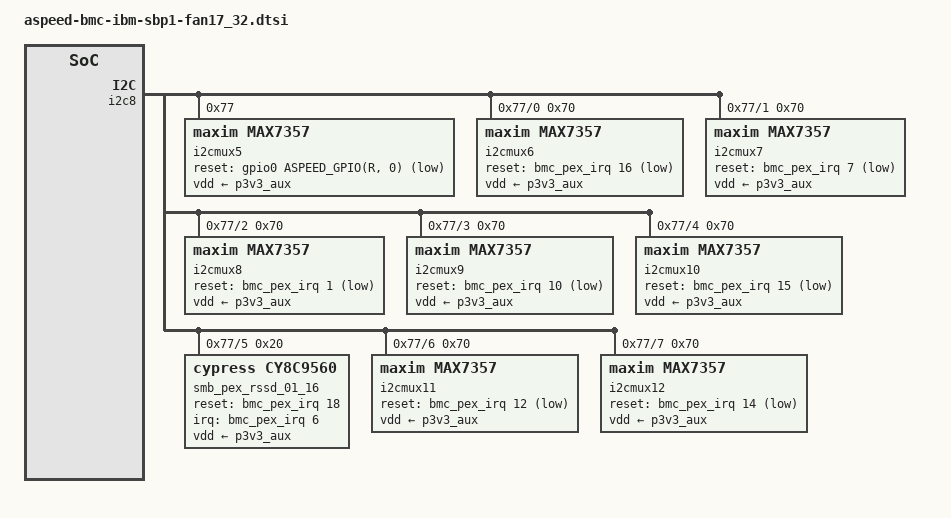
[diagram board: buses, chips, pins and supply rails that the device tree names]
&i2c8 { // BMC_MUX_FANSSB_RSSD17_32
	status = "okay";
	// Bus frequency limited to 100KHz by cy8c9560

	i2cmux5: mux@77 {
		#address-cells = <1>;
		#size-cells = <0>;
		compatible = "maxim,max7357";
		reg = <0x77>;
		reset-gpios = <&gpio0 ASPEED_GPIO(R, 0) (GPIO_ACTIVE_LOW | GPIO_OPEN_DRAIN)>; // BMC_MUX_FANSSB_RSSD17_32_RST_INT_N
		vdd-supply = <&p3v3_aux>;

		i2c@0 { // SMB_MUX_SSB_FANGRP0
			#address-cells = <1>;
			#size-cells = <0>;
			reg = <0>;
			i2cmux6: mux@70 {
				compatible = "maxim,max7357";
				#address-cells = <1>;
				#size-cells = <0>;
				reg = <0x70>;
				reset-gpios = <&bmc_pex_irq 16 (GPIO_ACTIVE_LOW | GPIO_OPEN_DRAIN)>; // SMB_MUX_SSB_FANGRP0_RST_INT_N
				vdd-supply = <&p3v3_aux>;
			};
		};
		i2c@1 { // SMB_MUX_SSB_FANGRP1
			#address-cells = <1>;
			#size-cells = <0>;
			reg = <1>;

			i2cmux7: mux@70 {
				compatible = "maxim,max7357";
				#address-cells = <1>;
				#size-cells = <0>;
				reg = <0x70>;
				reset-gpios = <&bmc_pex_irq 7 (GPIO_ACTIVE_LOW | GPIO_OPEN_DRAIN)>; // SMB_MUX_SSB_FANGRP1_RST_INT_N
				vdd-supply = <&p3v3_aux>;
			};
		};
		i2c@2 { // SMB_MUX_SSB_FANGRP2
			#address-cells = <1>;
			#size-cells = <0>;
			reg = <2>;

			i2cmux8: mux@70 {
				compatible = "maxim,max7357";
				#address-cells = <1>;
				#size-cells = <0>;
				reg = <0x70>;
				reset-gpios = <&bmc_pex_irq 1 (GPIO_ACTIVE_LOW | GPIO_OPEN_DRAIN)>; // SMB_MUX_SSB_FANGRP2_RST_INT_N
				vdd-supply = <&p3v3_aux>;
			};
		};
		i2c@3 { // SMB_MUX_SSB_RSSD17_24
			#address-cells = <1>;
			#size-cells = <0>;
			reg = <3>;

			i2cmux9: mux@70 {
				compatible = "maxim,max7357";
				#address-cells = <1>;
				#size-cells = <0>;
				reg = <0x70>;
				reset-gpios = <&bmc_pex_irq 10 (GPIO_ACTIVE_LOW | GPIO_OPEN_DRAIN)>; // SMB_MUX_SSB_RSSD17_24_RST_INT_N
				vdd-supply = <&p3v3_aux>;
			};
		};
		i2c@4 { // SMB_MUX_SSB_RSSD25_32
			#address-cells = <1>;
			#size-cells = <0>;
			reg = <4>;

			i2cmux10: mux@70 {
				compatible = "maxim,max7357";
				#address-cells = <1>;
				#size-cells = <0>;
				reg = <0x70>;
				reset-gpios = <&bmc_pex_irq 15 (GPIO_ACTIVE_LOW | GPIO_OPEN_DRAIN)>; // SMB_MUX_SSB_RSSD25_32_RST_INT_N
				vdd-supply = <&p3v3_aux>;
			};
		};
		i2c@5 { // SMB_PEX_RSSD01_16
			#address-cells = <1>;
			#size-cells = <0>;
			reg = <5>;

			smb_pex_rssd_01_16: U62140@20 {
				#address-cells = <1>;
				#size-cells = <0>;
				compatible = "cypress,cy8c9560";
				reg = <0x20>;
				gpio-controller;
				#gpio-cells = <2>;
				#interrupt-cells=<2>;
				interrupt-parent = <&bmc_pex_irq>;
				interrupts = <6 IRQ_TYPE_LEVEL_HIGH>; // SMB_PEX_RSSD01_16_INT
				interrupt-controller;
				vdd-supply = <&p3v3_aux>;
				// Reset is PEX_RSSD01_16_RST
				reset-gpios = <&bmc_pex_irq 18 GPIO_ACTIVE_HIGH>;
				ngpios = <48>;
				gpio-reserved-ranges = <48 12>;

				gpio-line-names =
				/* GPORT0 */
				"RSSD01_SMBRST_N", "RSSD02_SMBRST_N",
				"RSSD03_SMBRST_N", "RSSD04_SMBRST_N",
				"RSSD05_SMBRST_N", "RSSD06_SMBRST_N",
				"RSSD07_SMBRST_N", "RSSD08_SMBRST_N",
				/* GPORT1*/
				"RSSD09_SMBRST_N", "RSSD10_SMBRST_N",
				"RSSD11_SMBRST_N", "RSSD12_SMBRST_N",
				"RSSD13_SMBRST_N", "RSSD14_SMBRST_N",
				"RSSD15_SMBRST_N", "RSSD16_SMBRST_N",
				/* GPORT2*/
				"RSSD01_PWRDIS", "RSSD02_PWRDIS",
				"RSSD03_PWRDIS", "RSSD04_PWRDIS",
				/* GPORT3*/
				"RSSD05_PWRDIS", "RSSD06_PWRDIS",
				"RSSD07_PWRDIS", "RSSD08_PWRDIS",
				"RSSD09_PWRDIS", "RSSD10_PWRDIS",
				"RSSD11_PWRDIS", "RSSD12_PWRDIS",
				/* GPORT4*/
				"RSSD13_PWRDIS", "RSSD14_PWRDIS",
				"RSSD15_PWRDIS", "RSSD16_PWRDIS",
				"RSSD01_RESET_N", "RSSD02_RESET_N",
				"RSSD03_RESET_N", "RSSD04_RESET_N",
				/* GPORT5*/
				"RSSD05_RESET_N", "RSSD06_RESET_N",
				"RSSD07_RESET_N", "RSSD08_RESET_N",
				"RSSD09_RESET_N", "RSSD10_RESET_N",
				"RSSD11_RESET_N", "RSSD12_RESET_N",
				/* GPORT6*/
				"RSSD13_RESET_N", "RSSD14_RESET_N",
				"RSSD15_RESET_N", "RSSD16_RESET_N",
				"", "",
				"", "",
				/* GPORT7*/
				"", "",
				"", "",
				"", "",
				"", "";

				pinctrl-0 = <&U62140_pins>;
				pinctrl-names = "default";
				U62140_pins: pin-cfg {
					input {
						pins = "gp20", "gp21", "gp22", "gp23", "gp30",
						"gp31", "gp32", "gp33", "gp34", "gp35", "gp36",
						"gp37", "gp40", "gp41", "gp42", "gp43", "gp44",
						"gp45", "gp46", "gp47", "gp50", "gp51", "gp52",
						"gp53", "gp54", "gp55", "gp56", "gp57", "gp60",
						"gp61", "gp62", "gp63";
						function = "gpio";
						input-enable;
					};
					out-high {
						pins = "gp00", "gp01", "gp02", "gp03", "gp04",
						"gp05", "gp06", "gp07", "gp10", "gp11", "gp12",
						"gp13", "gp14", "gp15", "gp16", "gp17";
						function = "gpio";
						output-enable;
						output-high;
					};
				};
			};
		};
		i2c@6 { // SMB_MUX_RSSD17_24
			#address-cells = <1>;
			#size-cells = <0>;
			reg = <6>;

			i2cmux11: mux@70 {
				compatible = "maxim,max7357";
				#address-cells = <1>;
				#size-cells = <0>;
				reg = <0x70>;
				reset-gpios = <&bmc_pex_irq 12 (GPIO_ACTIVE_LOW | GPIO_OPEN_DRAIN)>; // SMB_MUX_RSSD17_24_RST_INT_N
				vdd-supply = <&p3v3_aux>;

				i2c@0 { // SMB_RSSD17
					#address-cells = <1>;
					#size-cells = <0>;
					reg = <0>;
				};
				i2c@1 { // SMB_RSSD18
					#address-cells = <1>;
					#size-cells = <0>;
					reg = <1>;
				};
				i2c@2 { // SMB_RSSD19
					#address-cells = <1>;
					#size-cells = <0>;
					reg = <2>;
				};
				i2c@3 { // SMB_RSSD20
					#address-cells = <1>;
					#size-cells = <0>;
					reg = <3>;
				};
				i2c@4 { // SMB_RSSD21
					#address-cells = <1>;
					#size-cells = <0>;
					reg = <4>;
				};
				i2c@5 { // SMB_RSSD22
					#address-cells = <1>;
					#size-cells = <0>;
					reg = <5>;
				};
				i2c@6 { // SMB_RSSD23
					#address-cells = <1>;
					#size-cells = <0>;
					reg = <6>;
				};
				i2c@7 { // SMB_RSSD24
					#address-cells = <1>;
					#size-cells = <0>;
					reg = <7>;
				};
			};
		};
		i2c@7 { // SMB_MUX_RSSD25_32
			#address-cells = <1>;
			#size-cells = <0>;
			reg = <7>;

			i2cmux12: mux@70 {
				compatible = "maxim,max7357";
				#address-cells = <1>;
				#size-cells = <0>;
				reg = <0x70>;
				reset-gpios = <&bmc_pex_irq 14 (GPIO_ACTIVE_LOW | GPIO_OPEN_DRAIN)>; // SMB_MUX_RSSD25_32_RST_INT_N
				vdd-supply = <&p3v3_aux>;

				i2c@0 { // SMB_RSSD25
					#address-cells = <1>;
					#size-cells = <0>;
					reg = <0>;
				};
				i2c@1 { // SMB_RSSD26
					#address-cells = <1>;
					#size-cells = <0>;
					reg = <1>;
				};
				i2c@2 { // SMB_RSSD27
					#address-cells = <1>;
					#size-cells = <0>;
					reg = <2>;
				};
				i2c@3 { // SMB_RSSD28
					#address-cells = <1>;
					#size-cells = <0>;
					reg = <3>;
				};
				i2c@4 { // SMB_RSSD29
					#address-cells = <1>;
					#size-cells = <0>;
					reg = <4>;
				};
				i2c@5 { // SMB_RSSD30
					#address-cells = <1>;
					#size-cells = <0>;
					reg = <5>;
				};
				i2c@6 { // SMB_RSSD31
					#address-cells = <1>;
					#size-cells = <0>;
					reg = <6>;
				};
				i2c@7 { // SMB_RSSD32
					#address-cells = <1>;
					#size-cells = <0>;
					reg = <7>;
				};
			};
		};
	};
};

